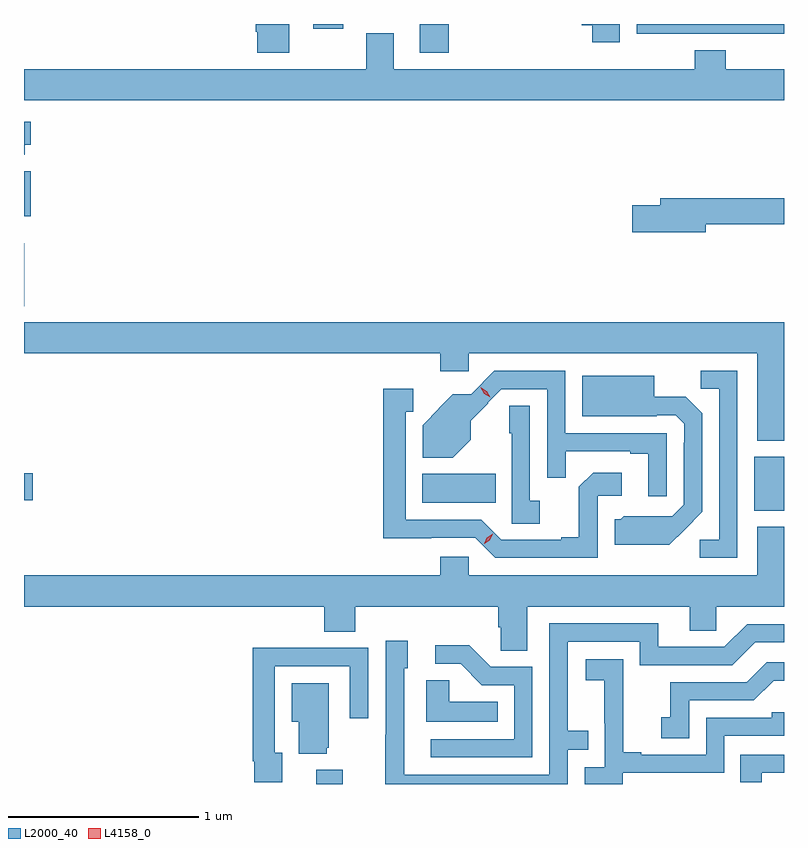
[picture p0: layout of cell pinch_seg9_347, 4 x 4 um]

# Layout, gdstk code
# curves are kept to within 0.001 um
import gdstk
lib = gdstk.Library(unit=1e-6, precision=1e-09)
def R(c, l, rs):  # rectangles x0, y0, x1, y1
    for r in rs: c.add(gdstk.rectangle(r[:2], r[2:], *l))
def P(c, l, *ps):  # polygons
    for p in ps: c.add(gdstk.Polygon(p, *l))
L2000_40 = (2000, 40)
L4158_0 = (4158, 0)

pinch_seg9_347 = lib.new_cell('pinch_seg9_347')
R(pinch_seg9_347, L2000_40, [(553.283,1178.17,553.423,1178.245), (555.59,1179.608,555.746,1179.892), (553.841,1179.65,554.228,1179.802), (551.746,1179.664,551.791,1179.806), (551.746,1180.685,551.747,1181.017), (551.746,1181.159,551.782,1181.395), (553.829,1182.018,553.982,1182.17), (553.269,1182.144,553.425,1182.17)])
P(pinch_seg9_347, L2000_40, [(554.881,1182.17),(554.681,1182.17),(554.681,1182.164),(554.738,1182.164),(554.738,1182.075),(554.881,1182.075)],
  [(555.191,1182.12),(555.557,1182.12),(555.557,1182.119),(555.746,1182.119),(555.746,1182.17),(554.97,1182.17),(554.97,1182.119),(555.191,1182.119)],
  [(553.141,1182.17),(552.967,1182.17),(552.967,1182.13),(552.974,1182.13),(552.974,1182.018),(553.141,1182.018)],
  [(555.746,1181.932),(555.44,1181.932),(555.44,1182.031),(555.275,1182.031),(555.275,1181.932),(553.693,1181.932),(553.693,1182.122),(553.546,1182.122),(553.546,1181.932),(551.746,1181.932),(551.746,1181.768),(555.746,1181.768)],
  [(551.749,1181.534),(551.782,1181.534),(551.782,1181.656),(551.746,1181.656),(551.746,1181.483),(551.749,1181.483)],
  [(555.334,1181.116),(555.746,1181.116),(555.746,1181.252),(555.095,1181.252),(555.095,1181.216),(554.946,1181.216),(554.946,1181.074),(555.334,1181.074)],
  [(555.746,1180.6),(551.746,1180.6),(551.746,1180.436),(553.937,1180.436),(553.937,1180.343),(554.088,1180.343),(554.088,1180.436),(555.605,1180.436),(555.605,1179.977),(555.746,1179.977)],
  [(555.129,1180.017),(554.595,1180.017),(554.595,1180.344),(554.222,1180.344),(554.099,1180.222),(554.003,1180.222),(553.93,1180.148),(553.932,1180.147),(553.844,1180.059),(553.844,1179.887),(554.003,1179.887),(554.098,1179.982),(554.098,1180.081),(554.19,1180.174),(554.187,1180.176),(554.259,1180.248),(554.499,1180.248),(554.499,1179.782),(554.597,1179.782),(554.597,1179.921),(554.936,1179.921),(554.936,1179.909),(555.032,1179.909),(555.032,1179.684),(555.129,1179.684)],
  [(555.501,1180.344),(555.309,1180.344),(555.309,1180.249),(555.405,1180.249),(555.405,1179.456),(555.303,1179.456),(555.303,1179.36),(555.501,1179.36)],
  [(555.223,1179.509),(555.315,1179.602),(555.315,1180.122),(555.229,1180.208),(555.064,1180.208),(555.064,1180.318),(554.684,1180.318),(554.684,1180.106),(555.077,1180.106),(555.077,1180.11),(555.177,1180.11),(555.222,1180.065),(555.222,1179.965),(555.219,1179.965),(555.219,1179.639),(555.159,1179.579),(554.902,1179.58),(554.886,1179.564),(554.855,1179.564),(554.855,1179.428),(555.143,1179.428)],
  [(554.766,1179.687),(554.893,1179.687),(554.893,1179.808),(554.742,1179.808),(554.667,1179.734),(554.667,1179.469),(554.573,1179.469),(554.573,1179.456),(554.258,1179.456),(554.153,1179.561),(553.756,1179.561),(553.756,1180.128),(553.794,1180.128),(553.794,1180.249),(553.638,1180.249),(553.638,1179.464),(554.121,1179.465),(554.226,1179.36),(554.766,1179.36)],
  [(554.461,1179.66),(554.409,1179.66),(554.409,1180.162),(554.299,1180.162),(554.299,1180.017),(554.313,1180.017),(554.313,1179.541),(554.461,1179.541)],
  [(554.395,1179.104),(555.251,1179.104),(555.251,1178.977),(555.39,1178.977),(555.39,1179.104),(555.746,1179.104),(555.746,1179.523),(555.605,1179.523),(555.605,1179.268),(554.088,1179.268),(554.088,1179.366),(553.937,1179.366),(553.937,1179.268),(551.746,1179.268),(551.746,1179.104),(553.325,1179.104),(553.325,1178.971),(553.49,1178.971),(553.49,1179.104),(554.243,1179.104),(554.243,1178.995),(554.256,1178.995),(554.256,1178.872),(554.395,1178.872)],
  [(554.607,1178.349),(554.717,1178.349),(554.717,1178.45),(554.607,1178.45),(554.607,1178.919),(554.988,1178.919),(554.988,1178.796),(555.474,1178.796),(555.594,1178.916),(555.746,1178.916),(555.746,1179.012),(555.552,1179.012),(555.432,1178.892),(555.085,1178.892),(555.085,1179.015),(554.511,1179.015),(554.511,1178.22),(553.746,1178.22),(553.746,1178.778),(553.765,1178.778),(553.765,1178.923),(553.65,1178.923),(553.65,1178.429),(553.648,1178.429),(553.648,1178.17),(554.607,1178.17)],
  [(554.421,1178.787),(554.202,1178.787),(554.089,1178.9),(553.911,1178.9),(553.911,1178.802),(554.045,1178.802),(554.156,1178.691),(554.325,1178.691),(554.325,1178.406),(553.887,1178.406),(553.887,1178.31),(554.421,1178.31)],
  [(553.105,1178.334),(553.065,1178.334),(553.065,1178.79),(553.461,1178.79),(553.461,1178.517),(553.557,1178.517),(553.557,1178.886),(553.241,1178.886),(553.241,1178.888),(552.949,1178.888),(552.949,1178.29),(552.957,1178.29),(552.957,1178.178),(553.105,1178.178)],
  [(554.898,1178.229),(555.432,1178.229),(555.432,1178.424),(555.746,1178.424),(555.746,1178.547),(555.681,1178.547),(555.681,1178.52),(555.336,1178.52),(555.336,1178.325),(554.995,1178.325),(554.995,1178.338),(554.9,1178.338),(554.9,1178.621),(554.901,1178.621),(554.901,1178.827),(554.703,1178.827),(554.703,1178.717),(554.801,1178.717),(554.801,1178.489),(554.802,1178.489),(554.802,1178.259),(554.697,1178.259),(554.697,1178.17),(554.898,1178.17)],
  [(555.246,1178.61),(555.588,1178.61),(555.692,1178.714),(555.746,1178.714),(555.746,1178.811),(555.656,1178.811),(555.551,1178.706),(555.148,1178.706),(555.148,1178.521),(555.099,1178.521),(555.099,1178.412),(555.246,1178.412)],
  [(554.24,1178.602),(553.983,1178.602),(553.983,1178.717),(553.862,1178.717),(553.862,1178.498),(554.24,1178.498)],
  [(553.34,1178.361),(553.351,1178.361),(553.351,1178.701),(553.154,1178.701),(553.154,1178.498),(553.193,1178.498),(553.193,1178.33),(553.34,1178.33)],
  [(555.628,1178.229),(555.746,1178.229),(555.746,1178.325),(555.517,1178.325),(555.517,1178.178),(555.628,1178.178)])
P(pinch_seg9_347, L4158_0, [(554.168,1179.434),(554.168,1179.434),(554.182,1179.466),(554.212,1179.486),(554.212,1179.486),(554.212,1179.486),(554.198,1179.453),(554.168,1179.434)],
  [(554.199,1180.205),(554.168,1180.224),(554.151,1180.256),(554.151,1180.257),(554.151,1180.257),(554.182,1180.238),(554.199,1180.205),(554.199,1180.205)])

lib.write_gds('pinch_seg9_347.gds')
